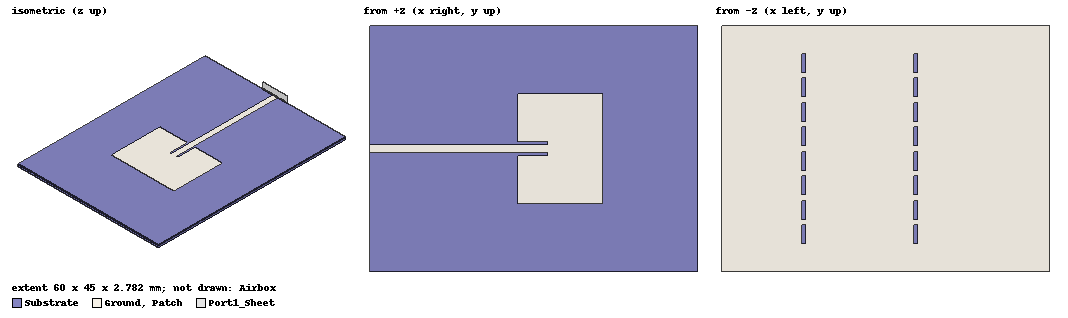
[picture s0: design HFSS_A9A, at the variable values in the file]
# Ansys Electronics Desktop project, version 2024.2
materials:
  vacuum: permittivity=1
  RO4350B: permittivity=3.48 permeability=1 dielectric_loss_tangent=0.0037
  pec: conductivity=1e+30
  air: permittivity=1.0006 permeability=1.0000004

design HFSS_A9A (HFSS, HFSS Terminal Network, model units mm)
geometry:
  Substrate [RO4350B] = box(corner=(-30mm, -22.5mm, 0mm), size=(60mm, 45mm, 0.762mm))
  Ground [pec] = rectangle(corner=(-30mm, -22.5mm, 0mm), x_size=60mm, y_size=45mm)
  Patch [pec] = rectangle(corner=(-2.99995mm, -10.01535mm, 0.762mm), x_size=15.5383mm, y_size=20.0307mm)
  Feed = rectangle(corner=(-30mm, -0.7991mm, 0.762mm), x_size=32.58775mm, y_size=1.5982mm)
  Patch.unite(Feed)
  TopCut_0_inset_gap_top = rectangle(corner=(-2.99995mm, 0.7991mm, 0.762mm), x_size=5.5877mm, y_size=0.4795mm)
  TopCut_1_inset_gap_bottom = rectangle(corner=(-2.99995mm, -1.2786mm, 0.762mm), x_size=5.5877mm, y_size=0.4795mm)
  Patch.subtract(TopCut_0_inset_gap_top, TopCut_1_inset_gap_bottom)
  GroundCut_0_ebg_0 = rectangle(corner=(-5.8614547mm, -17.431576mm, 0mm), x_size=0.72300936mm, y_size=3.5039502mm)
  GroundCut_1_ebg_1 = rectangle(corner=(-5.8614547mm, -12.95169mm, 0mm), x_size=0.72300936mm, y_size=3.5039502mm)
  GroundCut_2_ebg_2 = rectangle(corner=(-5.8614547mm, -8.4718039mm, 0mm), x_size=0.72300936mm, y_size=3.5039502mm)
  GroundCut_3_ebg_3 = rectangle(corner=(-5.8614547mm, -3.991918mm, 0mm), x_size=0.72300936mm, y_size=3.5039502mm)
  GroundCut_4_ebg_4 = rectangle(corner=(-5.8614547mm, 0.48796781mm, 0mm), x_size=0.72300936mm, y_size=3.5039502mm)
  GroundCut_5_ebg_5 = rectangle(corner=(-5.8614547mm, 4.9678537mm, 0mm), x_size=0.72300936mm, y_size=3.5039502mm)
  GroundCut_6_ebg_6 = rectangle(corner=(-5.8614547mm, 9.4477395mm, 0mm), x_size=0.72300936mm, y_size=3.5039502mm)
  GroundCut_7_ebg_7 = rectangle(corner=(-5.8614547mm, 13.927625mm, 0mm), x_size=0.72300936mm, y_size=3.5039502mm)
  GroundCut_8_ebg_8 = rectangle(corner=(14.676845mm, -17.431576mm, 0mm), x_size=0.72300936mm, y_size=3.5039502mm)
  GroundCut_9_ebg_9 = rectangle(corner=(14.676845mm, -12.95169mm, 0mm), x_size=0.72300936mm, y_size=3.5039502mm)
  GroundCut_10_ebg_10 = rectangle(corner=(14.676845mm, -8.4718039mm, 0mm), x_size=0.72300936mm, y_size=3.5039502mm)
  GroundCut_11_ebg_11 = rectangle(corner=(14.676845mm, -3.991918mm, 0mm), x_size=0.72300936mm, y_size=3.5039502mm)
  GroundCut_12_ebg_12 = rectangle(corner=(14.676845mm, 0.48796781mm, 0mm), x_size=0.72300936mm, y_size=3.5039502mm)
  GroundCut_13_ebg_13 = rectangle(corner=(14.676845mm, 4.9678537mm, 0mm), x_size=0.72300936mm, y_size=3.5039502mm)
  GroundCut_14_ebg_14 = rectangle(corner=(14.676845mm, 9.4477395mm, 0mm), x_size=0.72300936mm, y_size=3.5039502mm)
  GroundCut_15_ebg_15 = rectangle(corner=(14.676845mm, 13.927625mm, 0mm), x_size=0.72300936mm, y_size=3.5039502mm)
  Ground.subtract(GroundCut_0_ebg_0, GroundCut_1_ebg_1, GroundCut_2_ebg_2, GroundCut_3_ebg_3, GroundCut_4_ebg_4, GroundCut_5_ebg_5, GroundCut_6_ebg_6, GroundCut_7_ebg_7, GroundCut_8_ebg_8, GroundCut_9_ebg_9, GroundCut_10_ebg_10, GroundCut_11_ebg_11, GroundCut_12_ebg_12, GroundCut_13_ebg_13, GroundCut_14_ebg_14, GroundCut_15_ebg_15)
  Airbox [air] = box(corner=(-30mm, -42.5mm, -20mm), size=(80mm, 85mm, 40.762mm))
  Port1_Sheet = rectangle(corner=(-30mm, -3.9955mm, -0.02mm), y_size=7.991mm, z_size=2.782mm)
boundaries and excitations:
  Copper_PEC: Perfect E Objects=[Ground, Patch]
  Radiation: Radiation Objects=Airbox
  Port1: Wave Port Objects=Port1_Sheet WavePortType=Modal NumModes=1 Modes{Mode1{CharImp=Zpi RenormImp=50ohm}}
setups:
  Setup1: HfssDriven Frequency=5GHz MaxDeltaS=0.02 MaximumPasses=10 MinimumPasses=1 MinimumConvergedPasses=1 PercentRefinement=30 BasisOrder=1 PortAccuracy=2 DrivenSolverType="Direct Solver"
    sweep Sweep_4_6GHz: 4GHz to 6GHz, 101 points; Type=Interpolating SaveRadFields InterpTolerance=0.5 InterpMaxSolns=250 InterpUsePortImped=false PassivityErrorTolerance=0.0001
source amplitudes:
  Port1:1: 1V 0deg
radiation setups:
  InfiniteSphere_EH_Cuts: Infinite Sphere Theta=-180deg..180deg step 1deg Phi=-90deg..90deg step 90deg
